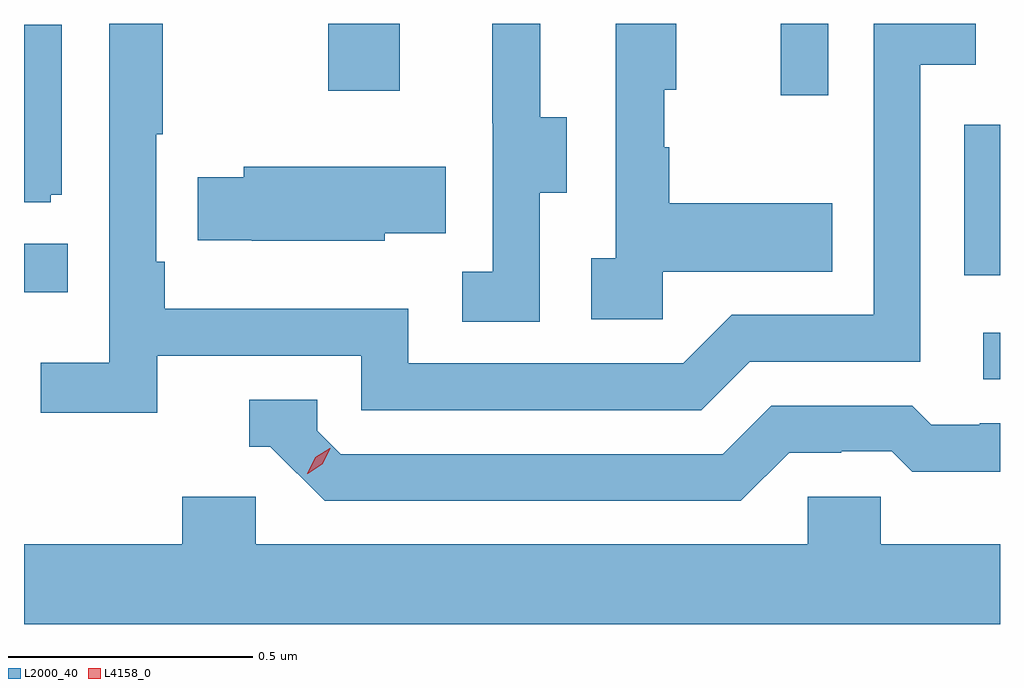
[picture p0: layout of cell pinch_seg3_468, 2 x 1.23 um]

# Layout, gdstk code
import gdstk
lib = gdstk.Library(unit=1e-6, precision=1e-09)
def R(c, l, rs):  # rectangles x0, y0, x1, y1
    for r in rs: c.add(gdstk.rectangle(r[:2], r[2:], *l))
def P(c, l, *ps):  # polygons
    for p in ps: c.add(gdstk.Polygon(p, *l))
L2000_40 = (2000, 40)
L4158_0 = (4158, 0)

pinch_seg3_468 = lib.new_cell('pinch_seg3_468')
R(pinch_seg3_468, L2000_40, [(903.321,677.442,903.355,677.538), (901.355,677.621,901.445,677.72), (903.282,677.655,903.355,677.964), (902.906,678.024,903.003,678.171), (901.978,678.033,902.125,678.171)])
P(pinch_seg3_468, L2000_40, [(901.628,677.49),(902.046,677.49),(902.046,677.379),(902.743,677.379),(902.842,677.478),(903.192,677.478),(903.192,678.087),(903.305,678.087),(903.305,678.171),(903.096,678.171),(903.096,677.574),(902.805,677.574),(902.706,677.475),(902.142,677.475),(902.142,677.587),(901.643,677.587),(901.643,677.683),(901.626,677.683),(901.626,677.944),(901.639,677.944),(901.639,678.171),(901.53,678.171),(901.53,677.476),(901.389,677.476),(901.389,677.374),(901.628,677.374)],
  [(902.412,677.824),(902.467,677.824),(902.467,677.979),(902.413,677.979),(902.413,678.171),(902.315,678.171),(902.315,677.967),(902.316,677.967),(902.316,677.663),(902.253,677.663),(902.253,677.56),(902.412,677.56)],
  [(902.664,677.663),(903.011,677.663),(903.011,677.803),(902.677,677.803),(902.677,677.918),(902.667,677.918),(902.667,678.036),(902.692,678.036),(902.692,678.171),(902.568,678.171),(902.568,677.69),(902.517,677.69),(902.517,677.565),(902.664,677.565)],
  [(901.41,677.82),(901.432,677.82),(901.432,678.169),(901.355,678.169),(901.355,677.805),(901.41,677.805)],
  [(902.094,677.741),(902.219,677.741),(902.219,677.878),(901.805,677.878),(901.805,677.856),(901.711,677.856),(901.711,677.727),(901.822,677.727),(901.822,677.726),(902.094,677.726)],
  [(902.923,677.292),(903.03,677.292),(903.03,677.295),(903.133,677.295),(903.175,677.253),(903.355,677.253),(903.355,677.352),(903.313,677.352),(903.313,677.349),(903.214,677.349),(903.175,677.388),(902.886,677.388),(902.787,677.289),(902.004,677.289),(901.956,677.337),(901.956,677.4),(901.817,677.4),(901.817,677.304),(901.86,677.304),(901.971,677.193),(902.824,677.193)],
  [(903.355,677.104),(903.111,677.104),(903.111,677.202),(902.961,677.202),(902.961,677.104),(901.83,677.104),(901.83,677.202),(901.679,677.202),(901.679,677.104),(901.355,677.104),(901.355,676.94),(903.355,676.94)])
P(pinch_seg3_468, L4158_0, [(901.935,677.249),(901.935,677.249),(901.952,677.282),(901.982,677.301),(901.983,677.301),(901.983,677.3),(901.966,677.268),(901.936,677.249)])

lib.write_gds('pinch_seg3_468.gds')
